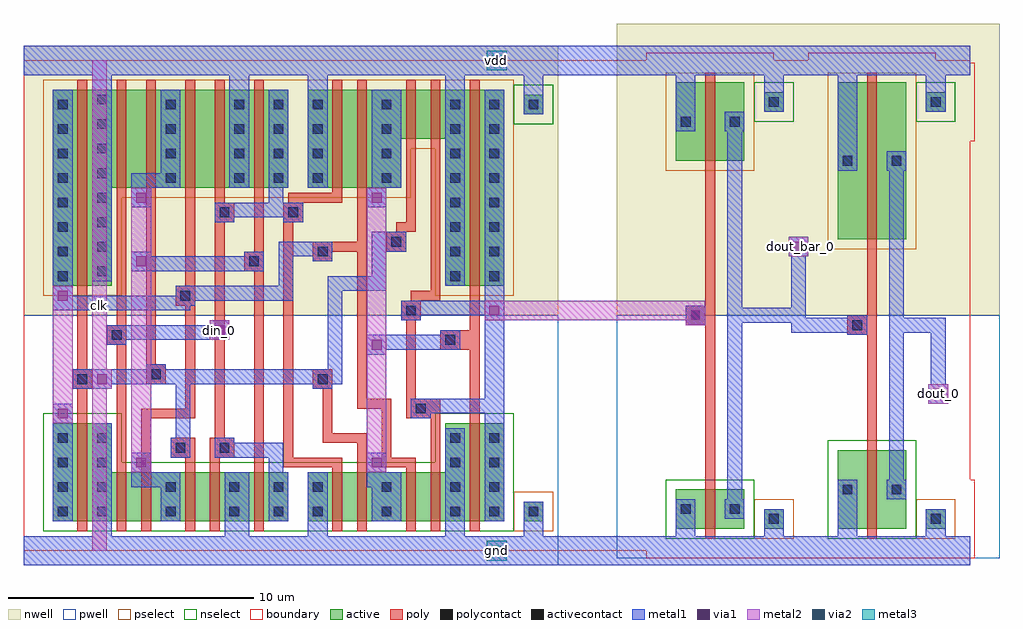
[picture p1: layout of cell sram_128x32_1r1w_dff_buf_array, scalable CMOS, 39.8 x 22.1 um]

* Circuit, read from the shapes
.subckt sram_128x32_1r1w_dff_buf_array clk din_0 dout_0 dout_bar_0 gnd vdd
M1 gnd clk n1 gnd nfet w=4u l=0.4u
M2 n2 din_0 gnd gnd nfet w=2u l=0.4u
M3 n3 n1 n2 gnd nfet w=2u l=0.4u
M4 n4 clk n3 gnd nfet w=2u l=0.4u
M5 gnd n5 n4 gnd nfet w=2u l=0.4u
M6 n5 n3 gnd gnd nfet w=2u l=0.4u
M7 n6 n5 gnd gnd nfet w=2u l=0.4u
M8 n7 clk n6 gnd nfet w=2u l=0.4u
M9 n8 n1 n7 gnd nfet w=2u l=0.4u
M10 gnd sram_128x32_1r1w_dff_buf_0_0/sram_128x32_1r1w_pinv_1_1/A n8 gnd nfet w=2u l=0.4u
M11 sram_128x32_1r1w_dff_buf_0_0/sram_128x32_1r1w_pinv_1_1/A n7 gnd gnd nfet w=4u l=0.4u
M12 dout_bar_0 sram_128x32_1r1w_dff_buf_0_0/sram_128x32_1r1w_pinv_1_1/A gnd gnd nfet w=1.6u l=0.4u
M13 dout_0 dout_bar_0 gnd gnd nfet w=3.2u l=0.4u
M14 vdd clk n1 vdd pfet w=8u l=0.4u
M15 n9 din_0 vdd vdd pfet w=4u l=0.4u
M16 n3 clk n9 vdd pfet w=4u l=0.4u
M17 n10 n1 n3 vdd pfet w=4u l=0.4u
M18 vdd n5 n10 vdd pfet w=4u l=0.4u
M19 n5 n3 vdd vdd pfet w=4u l=0.4u
M20 n11 n5 vdd vdd pfet w=4u l=0.4u
M21 n7 n1 n11 vdd pfet w=4u l=0.4u
M22 n12 clk n7 vdd pfet w=2u l=0.4u
M23 vdd sram_128x32_1r1w_dff_buf_0_0/sram_128x32_1r1w_pinv_1_1/A n12 vdd pfet w=2u l=0.4u
M24 sram_128x32_1r1w_dff_buf_0_0/sram_128x32_1r1w_pinv_1_1/A n7 vdd vdd pfet w=8u l=0.4u
M25 dout_bar_0 sram_128x32_1r1w_dff_buf_0_0/sram_128x32_1r1w_pinv_1_1/A vdd vdd pfet w=3.2u l=0.4u
M26 dout_0 dout_bar_0 vdd vdd pfet w=6.4u l=0.4u
.ends

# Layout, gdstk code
import gdstk
lib = gdstk.Library(unit=1e-6, precision=1e-09)
def R(c, l, rs):  # rectangles x0, y0, x1, y1
    for r in rs: c.add(gdstk.rectangle(r[:2], r[2:], *l))
def A(c, l, x, y, w, h, nx, ny, dx, dy):  # array of equal rectangles
    R(c, l, [(x+i*dx, y+j*dy, x+i*dx+w, y+j*dy+h) for i in range(nx) for j in range(ny)])
pwell = (41, 0)
nwell = (42, 0)
active = (43, 0)
pselect = (44, 0)
nselect = (45, 0)
poly = (46, 0)
polycontact = (47, 0)
activecontact = (48, 0)
metal1 = (49, 0)
via1 = (50, 0)
metal2 = (51, 0)
via2 = (61, 0)
metal3 = (62, 0)
boundary = (63, 0)

dff = lib.new_cell('dff')
R(dff, pwell, [(0,-0.6,21.8,9.6)])
R(dff, nwell, [(0,9.6,21.8,20.6)])
R(dff, active, [(1.2,1.2,10.8,3.2), (11.6,1.2,19.6,3.2), (20.4,1.2,21.2,2), (1.2,3.2,3.6,5.2), (17.2,3.2,19.6,5.2), (1.2,10.8,3.6,14.8), (17.2,10.8,19.6,16.8), (1.2,14.8,10.8,18.8), (11.6,14.8,15.4,16.8), (11.6,16.8,19.6,18.8), (20.4,17.8,21.2,18.6)])
R(dff, pselect, [(20,0.8,21.6,2.4), (0.8,10.4,4,14.4), (16.8,10.4,20,16.4), (0.8,14.4,15.8,16.4), (0.8,16.4,20,19.2)])
R(dff, nselect, [(0.8,0.8,20,3.6), (0.8,3.6,4,5.6), (16.8,3.6,20,5.6), (20,17.4,21.6,19)])
R(dff, poly, [(2.2,0.8,2.6,6.6), (3.8,0.8,4.2,8.4), (4.8,0.8,5.2,5.4), (6.6,0.8,7,3.8), (7.6,0.8,8,3.8), (9.4,0.8,9.8,11.4), (12.6,0.8,13,3.4), (13.6,0.8,14,4.4), (15.6,0.8,16,3.4), (16.6,0.8,17,5.4), (18.2,0.8,18.6,8.2), (10.6,3.4,13,3.8), (14.6,3.4,16,3.8), (6,3.8,7,4.6), (7.6,3.8,8.6,4.6), (10.6,3.8,11,13.4), (14.6,3.8,15,5.8), (12.2,4.4,14,4.8), (7.8,4.6,8.2,13.4), (12.2,4.8,12.6,6.6), (4.8,5.4,7,5.8), (15.6,5.4,17,6.2), (6.6,5.8,7,10), (13.6,5.8,15,6.2), (13.6,6.2,14,12.2), (15.6,6.2,16,9.4), (2,6.6,2.8,7.4), (11.8,6.6,12.6,7.4), (5,6.8,5.8,7.6), (2.2,7.4,2.6,19.2), (5,7.6,5.4,19.2), (17,8.2,18.6,9), (3.4,8.4,4.2,9.2), (18.2,9,18.6,19.2), (3.8,9.2,4.2,19.2), (15.4,9.4,16.2,10.2), (6.2,10,7,10.8), (15.8,10.2,17,10.6), (16.6,10.6,17,19.2), (6.6,10.8,7,19.2), (9,11.4,9.8,12.2), (11.8,11.8,12.6,12.2), (9.4,12.2,9.8,19.2), (11.8,12.2,14,12.6), (14.8,12.2,15.6,13), (13.6,12.6,14,19.2), (15.2,13,16,13.4), (7.8,13.4,8.6,14.2), (10.6,13.4,11.4,14.2), (15.6,13.4,16,19.2), (7.8,14.2,8.2,19.2), (10.8,14.2,13,14.6), (12.6,14.6,13,19.2)])
R(dff, polycontact, [(6.2,4,6.6,4.4), (8,4,8.4,4.4), (16,5.6,16.4,6), (2.2,6.8,2.6,7.2), (12,6.8,12.4,7.2), (5.2,7,5.6,7.4), (17.2,8.4,17.6,8.8), (3.6,8.6,4,9), (15.6,9.6,16,10), (6.4,10.2,6.8,10.6), (9.2,11.6,9.6,12), (12,12,12.4,12.4), (15,12.4,15.4,12.8), (8,13.6,8.4,14), (10.8,13.6,11.2,14)])
A(dff, activecontact, 1.4, 1.4, 0.4, 0.4, 1, 4, 0, 1)
A(dff, activecontact, 3, 1.4, 0.4, 0.4, 1, 4, 0, 1)
A(dff, activecontact, 11.8, 1.4, 0.4, 0.4, 3, 2, 2.8, 1)
A(dff, activecontact, 19, 1.4, 0.4, 0.4, 1, 4, 0, 1)
A(dff, activecontact, 1.4, 11, 0.4, 0.4, 1, 8, 0, 1)
A(dff, activecontact, 17.4, 11, 0.4, 0.4, 1, 7, 0, 1)
A(dff, activecontact, 19, 11, 0.4, 0.4, 1, 7, 0, 1)
A(dff, activecontact, 3, 11.2, 0.4, 0.4, 1, 8, 0, 1)
A(dff, activecontact, 5.8, 15, 0.4, 0.4, 1, 4, 0, 1)
A(dff, activecontact, 8.6, 15, 0.4, 0.4, 3, 4, 1.6, 1)
A(dff, activecontact, 14.6, 15, 0.4, 0.4, 1, 4, 0, 1)
A(dff, activecontact, 17.4, 18, 0.4, 0.4, 3, 1, 1.6, 0)
R(dff, activecontact, [(5.8,1.4,6.2,1.8), (8.4,1.4,8.8,1.8), (10.2,1.4,10.6,1.8), (20.6,1.4,21,1.8), (5.8,2.4,6.2,2.8), (8.4,2.4,8.8,2.8), (10.2,2.4,10.6,2.8), (17.4,3.4,17.8,3.8), (17.4,4.4,17.8,4.8)])
R(dff, metal1, [(0,-0.6,21.8,0.6), (0,-0.6,21.8,0.6), (2.8,0.6,3.6,5.2), (8.2,0.6,9.2,3.2), (11.6,0.6,12.4,3.2), (17.2,0.6,18,5), (20.4,0.6,21.2,2), (1.2,1.2,2,6), (5.6,1.2,6.4,2.6), (10,1.2,10.8,3.2), (14.2,1.2,15.4,2.6), (18.8,1.2,19.6,5.6), (4.4,2.6,6.4,3.2), (14,2.6,15.4,3.2), (4.4,3.2,5.2,4), (10,3.2,10.6,3.8), (14,3.2,14.8,4), (6,3.8,6.8,4.6), (7.8,3.8,10.6,4.4), (7.8,4.4,8.6,4.6), (6.2,4.6,6.8,6.8), (15.8,5.4,16.6,5.6), (15.8,5.6,19.6,6.2), (18.8,6.2,19.6,9.6), (2,6.6,3.6,6.8), (11.8,6.6,12.6,6.8), (2,6.8,13,7.4), (5,7.4,5.8,7.6), (12.4,7.4,13,10.6), (14,8,14.8,8.2), (14,8.2,17.8,8.8), (3.4,8.4,4.2,8.6), (3.4,8.6,8.4,9.2), (17,8.8,17.8,9), (7.6,9.2,8.4,9.4), (15.4,9.4,16.2,9.6), (15.4,9.6,19.6,10.2), (1.2,9.8,6.8,10), (1.2,10,7,10.2), (1.2,10.2,11,10.4), (18.8,10.2,19.6,18.8), (1.2,10.4,2,18.8), (6.2,10.4,11,10.8), (12.4,10.6,14.8,11.2), (10.4,10.8,11,12), (17.2,10.8,18,19.4), (2.8,11,3.6,19.4), (14.2,11.2,14.8,12.2), (4.4,11.4,9.8,12), (11.8,11.8,12.6,12), (4.4,12,5.2,12.2), (9,12,9.8,12.2), (10.4,12,12.6,12.6), (14.2,12.2,15.6,13), (7.8,13.4,8.6,13.6), (10.6,13.4,11.4,13.6), (7.8,13.6,11.4,14.2), (4.4,14,5.2,14.8), (14,14,14.8,14.8), (10,14.2,10.6,14.8), (4.4,14.8,6.4,15.4), (8.4,14.8,9.2,19.4), (10,14.8,10.8,18.8), (11.6,14.8,12.4,19.4), (14.2,14.8,15.4,18.8), (5.6,15.4,6.4,18.8), (20.4,17.8,21.2,19.4), (0,19.4,21.8,20.6), (0,19.4,21.8,20.6)])
R(dff, via1, [(4.6,3.4,5,3.8), (14.2,3.4,14.6,3.8), (1.4,5.4,1.8,5.8), (3,6.8,3.4,7.2), (14.2,8.2,14.6,8.6), (7.8,8.8,8.2,9.2), (19,9.6,19.4,10), (1.4,10.2,1.8,10.6), (4.6,11.6,5,12), (4.6,14.2,5,14.6), (14.2,14.2,14.6,14.6)])
R(dff, metal2, [(4.4,3.2,5.2,14.8), (14,3.2,14.8,14.8), (1.2,5.2,2,10.8), (2.8,6.6,3.6,7.4), (2.8,6.6,3.6,7.4), (7.6,8.6,8.4,9.4), (7.6,8.6,8.4,9.4), (18.8,9.4,19.6,10.2), (18.8,9.4,19.6,10.2)])
R(dff, boundary, [(0,0,21.8,20)])
dff.add(gdstk.Label('clk', (3,6.8), layer=51, texttype=0))
dff.add(gdstk.Label('D', (8,9), layer=51, texttype=0))
dff.add(gdstk.Label('Q', (19.2,9.8), layer=51, texttype=0))
dff.add(gdstk.Label('vdd', (6.4,19.6), layer=49, texttype=0))
dff.add(gdstk.Label('gnd', (8.8,0.2), layer=49, texttype=0))
dff.add(gdstk.Label('D', (8,9), layer=51, texttype=0))
dff.add(gdstk.Label('Q', (19.2,9.8), layer=51, texttype=0))
dff.add(gdstk.Label('clk', (3.2,7), layer=51, texttype=0))
dff.add(gdstk.Label('vdd', (10.9,20), layer=49, texttype=0))
dff.add(gdstk.Label('gnd', (10.9,0), layer=49, texttype=0))

sram_128x32_1r1w_contact = lib.new_cell('sram_128x32_1r1w_contact_11')
R(sram_128x32_1r1w_contact, nwell, [(-1.2,-1.2,2,2)])
R(sram_128x32_1r1w_contact, active, [(0,0,0.8,0.8)])
R(sram_128x32_1r1w_contact, pselect, [(-0.4,-0.4,1.2,1.2)])
R(sram_128x32_1r1w_contact, activecontact, [(0.2,0.2,0.6,0.6)])
R(sram_128x32_1r1w_contact, metal1, [(0,0,0.8,0.8)])
R(sram_128x32_1r1w_contact, boundary, [(-1.2,-1.2,2,2)])

sram_128x32_1r1w_pmos_m1 = lib.new_cell('sram_128x32_1r1w_pmos_m1_w3_200_sm1_dm1_da_p')
R(sram_128x32_1r1w_pmos_m1, nwell, [(-1.2,-1.2,4,4.4)])
R(sram_128x32_1r1w_pmos_m1, active, [(0,0,2.8,3.2)])
R(sram_128x32_1r1w_pmos_m1, pselect, [(-0.4,-0.4,3.2,3.6)])
R(sram_128x32_1r1w_pmos_m1, poly, [(1.2,-0.4,1.6,3.6), (1.2,-0.4,1.6,3.6)])
R(sram_128x32_1r1w_pmos_m1, metal1, [(0,1.2,0.8,2), (2,1.2,2.8,2)])
R(sram_128x32_1r1w_pmos_m1, boundary, [(-1.2,-1.2,4,4.4)])
sram_128x32_1r1w_pmos_m1.add(gdstk.Reference(sram_128x32_1r1w_contact, (0,1.2)))
sram_128x32_1r1w_pmos_m1.add(gdstk.Reference(sram_128x32_1r1w_contact, (2,1.2)))
sram_128x32_1r1w_pmos_m1.add(gdstk.Label('G', (1.4,1.6), layer=46, texttype=0))
sram_128x32_1r1w_pmos_m1.add(gdstk.Label('S', (0.4,1.6), layer=49, texttype=0))
sram_128x32_1r1w_pmos_m1.add(gdstk.Label('D', (2.4,1.6), layer=49, texttype=0))

c_sram_128x32_1r1w_contact = lib.new_cell('sram_128x32_1r1w_contact_10')
R(c_sram_128x32_1r1w_contact, pwell, [(-1.2,-1.2,2,2)])
R(c_sram_128x32_1r1w_contact, active, [(0,0,0.8,0.8)])
R(c_sram_128x32_1r1w_contact, nselect, [(-0.4,-0.4,1.2,1.2)])
R(c_sram_128x32_1r1w_contact, activecontact, [(0.2,0.2,0.6,0.6)])
R(c_sram_128x32_1r1w_contact, metal1, [(0,0,0.8,0.8)])
R(c_sram_128x32_1r1w_contact, boundary, [(-1.2,-1.2,2,2)])

sram_128x32_1r1w_nmos_m1 = lib.new_cell('sram_128x32_1r1w_nmos_m1_w1_600_sm1_dm1_da_p')
R(sram_128x32_1r1w_nmos_m1, pwell, [(-1.2,-1.2,4,2.8)])
R(sram_128x32_1r1w_nmos_m1, active, [(0,0,2.8,1.6)])
R(sram_128x32_1r1w_nmos_m1, nselect, [(-0.4,-0.4,3.2,2)])
R(sram_128x32_1r1w_nmos_m1, poly, [(1.2,-0.4,1.6,2), (1.2,-0.4,1.6,2)])
R(sram_128x32_1r1w_nmos_m1, metal1, [(0,0.4,0.8,1.2), (2,0.4,2.8,1.2)])
R(sram_128x32_1r1w_nmos_m1, boundary, [(-1.2,-1.2,4,2.8)])
sram_128x32_1r1w_nmos_m1.add(gdstk.Reference(c_sram_128x32_1r1w_contact, (0,0.4)))
sram_128x32_1r1w_nmos_m1.add(gdstk.Reference(c_sram_128x32_1r1w_contact, (2,0.4)))
sram_128x32_1r1w_nmos_m1.add(gdstk.Label('G', (1.4,0.8), layer=46, texttype=0))
sram_128x32_1r1w_nmos_m1.add(gdstk.Label('S', (0.4,0.8), layer=49, texttype=0))
sram_128x32_1r1w_nmos_m1.add(gdstk.Label('D', (2.4,0.8), layer=49, texttype=0))

c_sram_128x32_1r1w_contact_ = lib.new_cell('sram_128x32_1r1w_contact_12')
R(c_sram_128x32_1r1w_contact_, nwell, [(-1.2,-1.2,2,2)])
R(c_sram_128x32_1r1w_contact_, active, [(0,0,0.8,0.8)])
R(c_sram_128x32_1r1w_contact_, nselect, [(-0.4,-0.4,1.2,1.2)])
R(c_sram_128x32_1r1w_contact_, activecontact, [(0.2,0.2,0.6,0.6)])
R(c_sram_128x32_1r1w_contact_, metal1, [(0,0,0.8,0.8)])
R(c_sram_128x32_1r1w_contact_, boundary, [(-1.2,-1.2,2,2)])

c_sram_128x32_1r1w_contact__ = lib.new_cell('sram_128x32_1r1w_contact_13')
R(c_sram_128x32_1r1w_contact__, pwell, [(-1.2,-1.2,2,2)])
R(c_sram_128x32_1r1w_contact__, active, [(0,0,0.8,0.8)])
R(c_sram_128x32_1r1w_contact__, pselect, [(-0.4,-0.4,1.2,1.2)])
R(c_sram_128x32_1r1w_contact__, activecontact, [(0.2,0.2,0.6,0.6)])
R(c_sram_128x32_1r1w_contact__, metal1, [(0,0,0.8,0.8)])
R(c_sram_128x32_1r1w_contact__, boundary, [(-1.2,-1.2,2,2)])

c_sram_128x32_1r1w_contact___ = lib.new_cell('sram_128x32_1r1w_contact_14')
R(c_sram_128x32_1r1w_contact___, poly, [(0,0,0.8,0.8)])
R(c_sram_128x32_1r1w_contact___, polycontact, [(0.2,0.2,0.6,0.6)])
R(c_sram_128x32_1r1w_contact___, metal1, [(0,0,0.8,0.8)])
R(c_sram_128x32_1r1w_contact___, boundary, [(0,0,0.8,0.8)])

sram_128x32_1r1w_pinv_1 = lib.new_cell('sram_128x32_1r1w_pinv_1')
R(sram_128x32_1r1w_pinv_1, pwell, [(-1.2,-0.3,7.8,9.6)])
R(sram_128x32_1r1w_pinv_1, nwell, [(-1.2,9.6,7.8,21.5)])
R(sram_128x32_1r1w_pinv_1, poly, [(2.4,2.9,2.8,15.5), (2,9.2,2.4,10)])
R(sram_128x32_1r1w_pinv_1, metal1, [(0,-0.3,6.6,0.3), (1.2,-0.3,2,1.3), (4.8,0,5.6,1.3), (3.3,1.3,3.9,17.9), (1.6,9.2,2.4,10), (3.6,9.3,4.2,9.9), (1.2,17.1,2,20.3), (4.8,18.3,5.6,20), (0,19.7,6.6,20.3)])
R(sram_128x32_1r1w_pinv_1, boundary, [(0,0,6.6,20), (0,0,6.6,20)])
sram_128x32_1r1w_pinv_1.add(gdstk.Reference(sram_128x32_1r1w_pmos_m1, (1.2,15.9)))
sram_128x32_1r1w_pinv_1.add(gdstk.Reference(sram_128x32_1r1w_nmos_m1, (1.2,0.9)))
sram_128x32_1r1w_pinv_1.add(gdstk.Reference(c_sram_128x32_1r1w_contact_, (4.8,17.9)))
sram_128x32_1r1w_pinv_1.add(gdstk.Reference(c_sram_128x32_1r1w_contact__, (4.8,0.9)))
sram_128x32_1r1w_pinv_1.add(gdstk.Reference(c_sram_128x32_1r1w_contact___, (1.6,9.2)))
sram_128x32_1r1w_pinv_1.add(gdstk.Label('A', (2,9.6), layer=49, texttype=0))
sram_128x32_1r1w_pinv_1.add(gdstk.Label('Z', (3.9,9.6), layer=49, texttype=0))
sram_128x32_1r1w_pinv_1.add(gdstk.Label('gnd', (3.3,0), layer=49, texttype=0))
sram_128x32_1r1w_pinv_1.add(gdstk.Label('vdd', (3.3,20), layer=49, texttype=0))

c_sram_128x32_1r1w_pmos_m1 = lib.new_cell('sram_128x32_1r1w_pmos_m1_w6_400_sm1_dm1_da_p')
R(c_sram_128x32_1r1w_pmos_m1, nwell, [(-1.2,-1.2,4,7.6)])
R(c_sram_128x32_1r1w_pmos_m1, active, [(0,0,2.8,6.4)])
R(c_sram_128x32_1r1w_pmos_m1, pselect, [(-0.4,-0.4,3.2,6.8)])
R(c_sram_128x32_1r1w_pmos_m1, poly, [(1.2,-0.4,1.6,6.8), (1.2,-0.4,1.6,6.8)])
R(c_sram_128x32_1r1w_pmos_m1, metal1, [(0,2.8,0.8,3.6), (2,2.8,2.8,3.6)])
R(c_sram_128x32_1r1w_pmos_m1, boundary, [(-1.2,-1.2,4,7.6)])
c_sram_128x32_1r1w_pmos_m1.add(gdstk.Reference(sram_128x32_1r1w_contact, (0,2.8)))
c_sram_128x32_1r1w_pmos_m1.add(gdstk.Reference(sram_128x32_1r1w_contact, (2,2.8)))
c_sram_128x32_1r1w_pmos_m1.add(gdstk.Label('G', (1.4,3.2), layer=46, texttype=0))
c_sram_128x32_1r1w_pmos_m1.add(gdstk.Label('S', (0.4,3.2), layer=49, texttype=0))
c_sram_128x32_1r1w_pmos_m1.add(gdstk.Label('D', (2.4,3.2), layer=49, texttype=0))

c_sram_128x32_1r1w_nmos_m1 = lib.new_cell('sram_128x32_1r1w_nmos_m1_w3_200_sm1_dm1_da_p')
R(c_sram_128x32_1r1w_nmos_m1, pwell, [(-1.2,-1.2,4,4.4)])
R(c_sram_128x32_1r1w_nmos_m1, active, [(0,0,2.8,3.2)])
R(c_sram_128x32_1r1w_nmos_m1, nselect, [(-0.4,-0.4,3.2,3.6)])
R(c_sram_128x32_1r1w_nmos_m1, poly, [(1.2,-0.4,1.6,3.6), (1.2,-0.4,1.6,3.6)])
R(c_sram_128x32_1r1w_nmos_m1, metal1, [(0,1.2,0.8,2), (2,1.2,2.8,2)])
R(c_sram_128x32_1r1w_nmos_m1, boundary, [(-1.2,-1.2,4,4.4)])
c_sram_128x32_1r1w_nmos_m1.add(gdstk.Reference(c_sram_128x32_1r1w_contact, (0,1.2)))
c_sram_128x32_1r1w_nmos_m1.add(gdstk.Reference(c_sram_128x32_1r1w_contact, (2,1.2)))
c_sram_128x32_1r1w_nmos_m1.add(gdstk.Label('G', (1.4,1.6), layer=46, texttype=0))
c_sram_128x32_1r1w_nmos_m1.add(gdstk.Label('S', (0.4,1.6), layer=49, texttype=0))
c_sram_128x32_1r1w_nmos_m1.add(gdstk.Label('D', (2.4,1.6), layer=49, texttype=0))

sram_128x32_1r1w_pinv_2 = lib.new_cell('sram_128x32_1r1w_pinv_2')
R(sram_128x32_1r1w_pinv_2, pwell, [(-1.2,-0.3,7.8,9.6)])
R(sram_128x32_1r1w_pinv_2, nwell, [(-1.2,9.6,7.8,21.5)])
R(sram_128x32_1r1w_pinv_2, poly, [(2.4,4.5,2.8,12.3), (2,8.8,2.4,9.6)])
R(sram_128x32_1r1w_pinv_2, metal1, [(0,-0.3,6.6,0.3), (1.2,-0.3,2,2.1), (4.8,0,5.6,1.3), (3.3,2.1,3.9,16.3), (1.6,8.8,2.4,9.6), (3.6,8.9,4.2,9.5), (1.2,15.5,2,20.3), (4.8,18.3,5.6,20), (0,19.7,6.6,20.3)])
R(sram_128x32_1r1w_pinv_2, boundary, [(0,0,6.6,20), (0,0,6.6,20)])
sram_128x32_1r1w_pinv_2.add(gdstk.Reference(c_sram_128x32_1r1w_pmos_m1, (1.2,12.7)))
sram_128x32_1r1w_pinv_2.add(gdstk.Reference(c_sram_128x32_1r1w_nmos_m1, (1.2,0.9)))
sram_128x32_1r1w_pinv_2.add(gdstk.Reference(c_sram_128x32_1r1w_contact_, (4.8,17.9)))
sram_128x32_1r1w_pinv_2.add(gdstk.Reference(c_sram_128x32_1r1w_contact__, (4.8,0.9)))
sram_128x32_1r1w_pinv_2.add(gdstk.Reference(c_sram_128x32_1r1w_contact___, (1.6,8.8)))
sram_128x32_1r1w_pinv_2.add(gdstk.Label('A', (2,9.2), layer=49, texttype=0))
sram_128x32_1r1w_pinv_2.add(gdstk.Label('Z', (3.9,9.2), layer=49, texttype=0))
sram_128x32_1r1w_pinv_2.add(gdstk.Label('gnd', (3.3,0), layer=49, texttype=0))
sram_128x32_1r1w_pinv_2.add(gdstk.Label('vdd', (3.3,20), layer=49, texttype=0))

c_sram_128x32_1r1w_contact____ = lib.new_cell('sram_128x32_1r1w_contact_17')
R(c_sram_128x32_1r1w_contact____, metal1, [(0,0,0.8,0.8)])
R(c_sram_128x32_1r1w_contact____, via1, [(0.2,0.2,0.6,0.6)])
R(c_sram_128x32_1r1w_contact____, metal2, [(0,0,0.8,0.8)])
R(c_sram_128x32_1r1w_contact____, boundary, [(0,0,0.8,0.8)])

sram_128x32_1r1w_dff_buf = lib.new_cell('sram_128x32_1r1w_dff_buf_0')
R(sram_128x32_1r1w_dff_buf, metal1, [(0,-0.6,38.6,0.6), (37,6.4,37.6,9.2), (31.3,8.9,31.9,9.5), (31.6,8.9,34,9.5), (35.9,8.9,37.3,9.5), (37,8.9,37.6,9.5), (31.3,9.2,31.9,9.6), (29.3,9.3,31.6,9.9), (31.3,9.3,31.9,9.9), (31.3,9.6,31.9,12.4), (0,19.4,38.6,20.6)])
R(sram_128x32_1r1w_dff_buf, metal2, [(37,6.1,37.6,6.7), (2.8,6.6,3.6,7.4), (7.6,8.6,8.4,9.4), (19.2,9.4,27.4,10.2), (27,9.4,27.8,10.2), (27,9.6,27.8,9.8), (31.4,12.1,32,12.7)])
R(sram_128x32_1r1w_dff_buf, boundary, [(0,0,38.6,20)])
sram_128x32_1r1w_dff_buf.add(gdstk.Reference(dff, (0,0)))
sram_128x32_1r1w_dff_buf.add(gdstk.Reference(sram_128x32_1r1w_pinv_1, (25.4,0)))
sram_128x32_1r1w_dff_buf.add(gdstk.Reference(sram_128x32_1r1w_pinv_2, (32,0)))
sram_128x32_1r1w_dff_buf.add(gdstk.Reference(c_sram_128x32_1r1w_contact____, (27,9.2)))
sram_128x32_1r1w_dff_buf.add(gdstk.Reference(c_sram_128x32_1r1w_contact____, (36.9,6)))
sram_128x32_1r1w_dff_buf.add(gdstk.Reference(c_sram_128x32_1r1w_contact____, (31.2,12)))
sram_128x32_1r1w_dff_buf.add(gdstk.Label('vdd', (19.3,20), layer=49, texttype=0))
sram_128x32_1r1w_dff_buf.add(gdstk.Label('gnd', (19.3,0), layer=49, texttype=0))
sram_128x32_1r1w_dff_buf.add(gdstk.Label('clk', (3.2,7), layer=51, texttype=0))
sram_128x32_1r1w_dff_buf.add(gdstk.Label('D', (8,9), layer=51, texttype=0))
sram_128x32_1r1w_dff_buf.add(gdstk.Label('Q', (37.3,6.4), layer=51, texttype=0))
sram_128x32_1r1w_dff_buf.add(gdstk.Label('Qb', (31.7,12.4), layer=51, texttype=0))

c_sram_128x32_1r1w_contact_____ = lib.new_cell('sram_128x32_1r1w_contact_18')
R(c_sram_128x32_1r1w_contact_____, metal2, [(0,0,0.8,0.8)])
R(c_sram_128x32_1r1w_contact_____, via2, [(0.2,0.2,0.6,0.6)])
R(c_sram_128x32_1r1w_contact_____, metal3, [(0,0,0.8,0.8)])
R(c_sram_128x32_1r1w_contact_____, boundary, [(0,0,0.8,0.8)])

c_sram_128x32_1r1w_dff_buf = lib.new_cell('sram_128x32_1r1w_dff_buf_array')
R(c_sram_128x32_1r1w_dff_buf, metal1, [(0,-0.6,38.6,0.6), (0,19.4,38.6,20.6)])
R(c_sram_128x32_1r1w_dff_buf, metal2, [(2.8,0,3.4,20), (37,6.1,37.6,6.7), (7.6,8.6,8.4,9.4), (31.4,12.1,32,12.7)])
R(c_sram_128x32_1r1w_dff_buf, metal3, [(18.9,-0.4,19.7,0.4), (18.9,19.6,19.7,20.4)])
R(c_sram_128x32_1r1w_dff_buf, boundary, [(0,0,38.6,20)])
c_sram_128x32_1r1w_dff_buf.add(gdstk.Reference(sram_128x32_1r1w_dff_buf, (0,0)))
c_sram_128x32_1r1w_dff_buf.add(gdstk.Reference(c_sram_128x32_1r1w_contact____, (18.9,19.6)))
c_sram_128x32_1r1w_dff_buf.add(gdstk.Reference(c_sram_128x32_1r1w_contact_____, (18.9,19.6)))
c_sram_128x32_1r1w_dff_buf.add(gdstk.Reference(c_sram_128x32_1r1w_contact____, (18.9,-0.4)))
c_sram_128x32_1r1w_dff_buf.add(gdstk.Reference(c_sram_128x32_1r1w_contact_____, (18.9,-0.4)))
c_sram_128x32_1r1w_dff_buf.add(gdstk.Label('vdd', (19.3,20), layer=62, texttype=0))
c_sram_128x32_1r1w_dff_buf.add(gdstk.Label('gnd', (19.3,0), layer=62, texttype=0))
c_sram_128x32_1r1w_dff_buf.add(gdstk.Label('din_0', (8,9), layer=51, texttype=0))
c_sram_128x32_1r1w_dff_buf.add(gdstk.Label('dout_0', (37.3,6.4), layer=51, texttype=0))
c_sram_128x32_1r1w_dff_buf.add(gdstk.Label('dout_bar_0', (31.7,12.4), layer=51, texttype=0))
c_sram_128x32_1r1w_dff_buf.add(gdstk.Label('clk', (3.1,10), layer=51, texttype=0))

lib.write_gds('sram_128x32_1r1w_dff_buf_array.gds')
